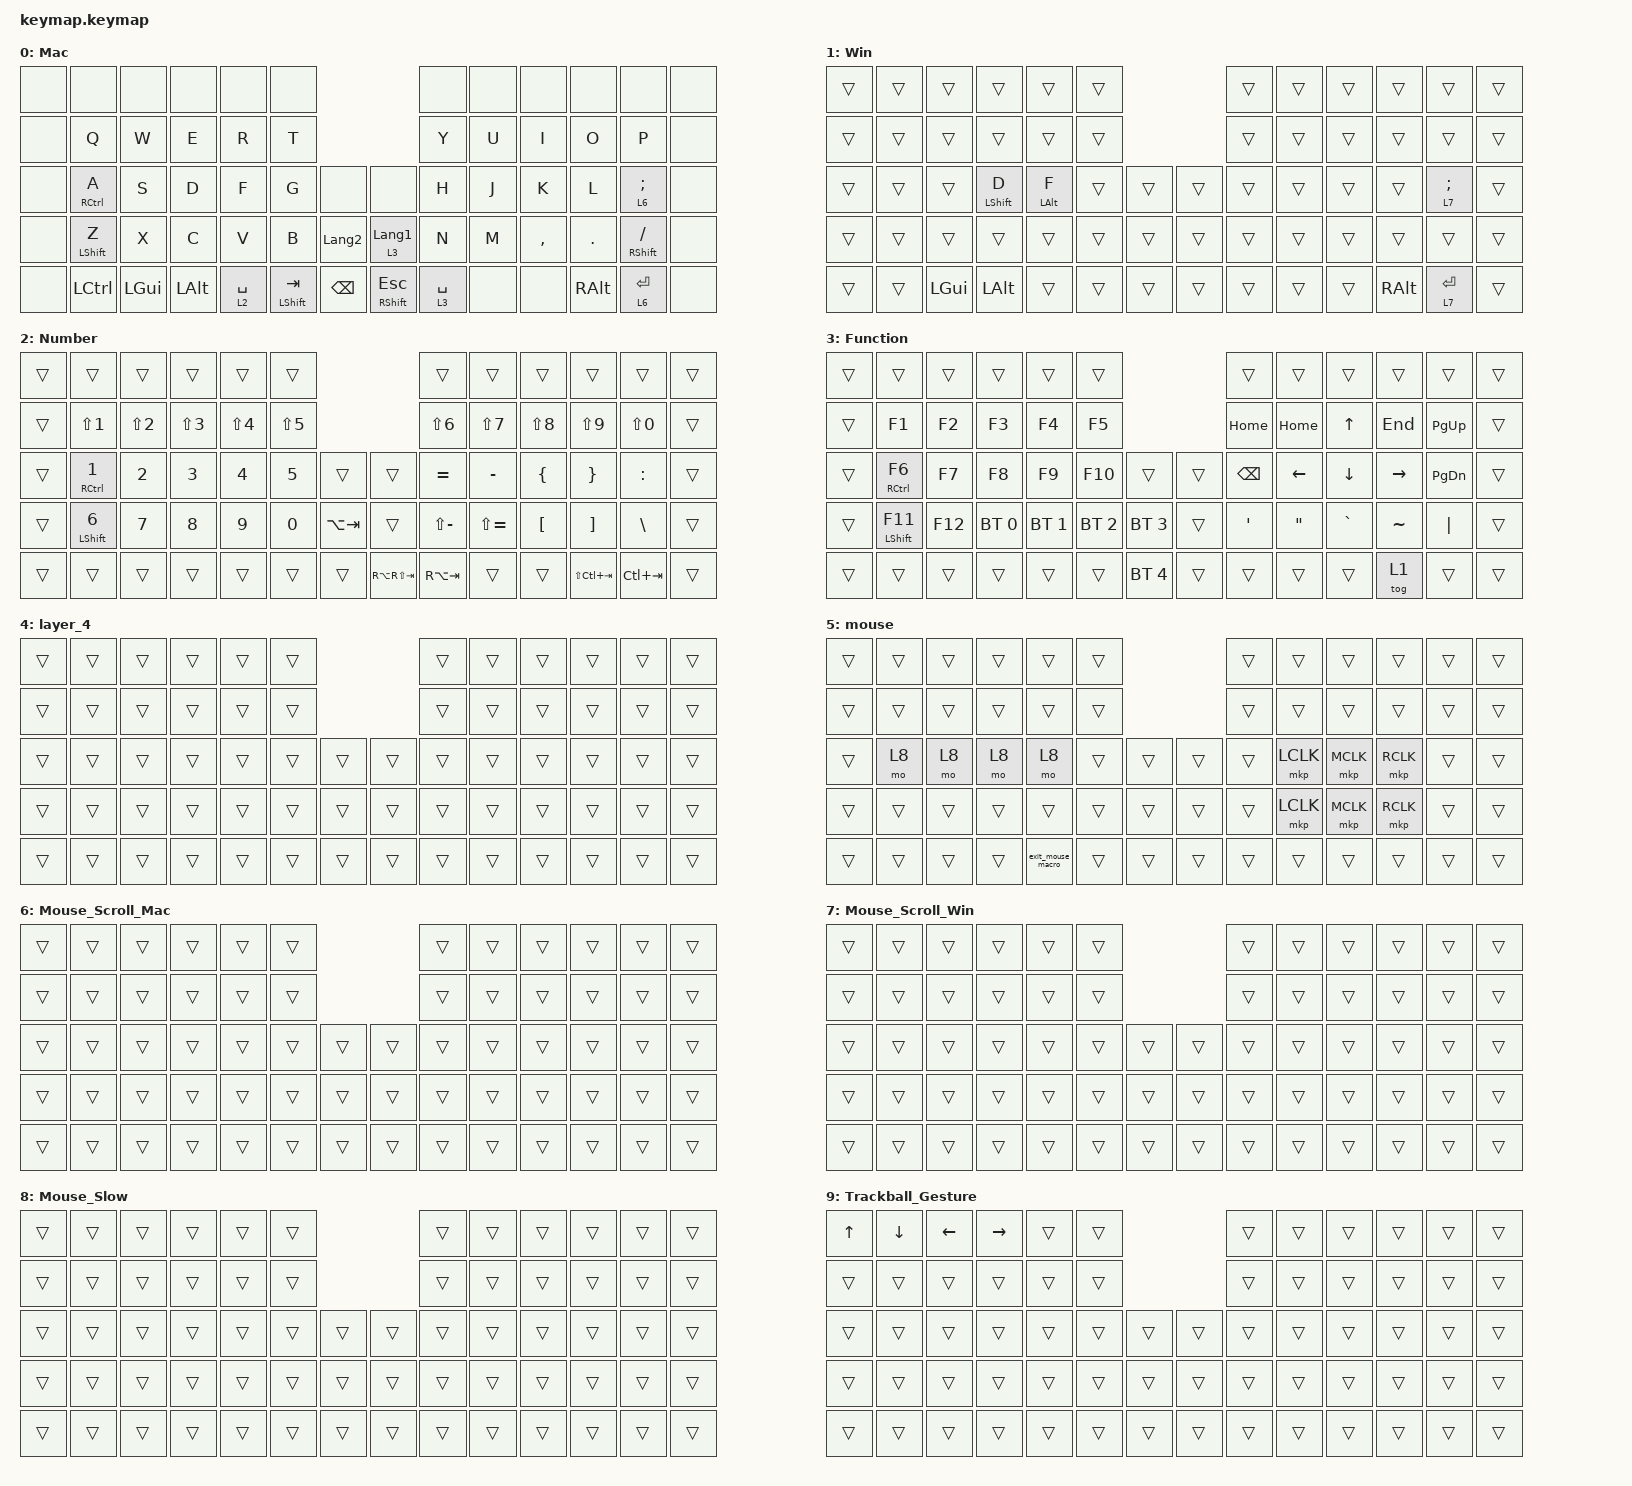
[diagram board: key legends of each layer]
#include <input/processors.dtsi>
#include <dt-bindings/zmk/input_transform.h>
#include <scroll-snap.dtsi>
#include <behaviors.dtsi>
#include <dt-bindings/zmk/bt.h>
#include <dt-bindings/zmk/keys.h>
#include <dt-bindings/zmk/pointing.h>

/ {
    combos {
        compatible = "zmk,combos";

        bt_clear {
            bindings = <&bt BT_CLR>;
            key-positions = <28 29>;
            layers = <2>;
        };
    };

    keymap {
        compatible = "zmk,keymap";

        Mac {
            bindings = <
&none  &none                     &none         &none         &none        &none                                          &none        &none  &none      &none    &none                       &none
&none  &kp Q                     &kp W         &kp E         &kp R        &kp T                                          &kp Y        &kp U  &kp I      &kp O    &kp P                       &none
&none  &mt_idle RIGHT_CONTROL A  &kp S         &kp D         &kp F        &kp G          &none           &none           &kp H        &kp J  &kp K      &kp L    &lt_idle 6 SEMICOLON        &none
&none  &mt_z LEFT_SHIFT Z        &kp X         &kp C         &kp V        &kp B          &kp LANGUAGE_2  &lt 3 LANGUAGE_1  &kp N        &kp M  &kp COMMA  &kp DOT  &mt_idle RIGHT_SHIFT SLASH  &none
&none  &kp LCTRL                 &kp LEFT_GUI  &kp LEFT_ALT  &lt 2 SPACE  &mt LEFT_SHIFT TAB  &kp BACKSPACE   &mt RSHIFT ESC  &lt 3 SPACE  &none  &none      &kp RIGHT_ALT  &lt 6 ENTER                 &none
            >;
        };

        Win {
            bindings = <
&trans  &trans  &trans        &trans            &trans          &trans                  &trans  &trans  &trans  &trans  &trans                &trans
&trans  &trans  &trans        &trans            &trans          &trans                  &trans  &trans  &trans  &trans  &trans                &trans
&trans  &trans  &trans        &mt LEFT_SHIFT D  &mt LEFT_ALT F  &trans  &trans  &trans  &trans  &trans  &trans  &trans  &lt_idle 7 SEMICOLON  &trans
&trans  &trans  &trans        &trans            &trans          &trans  &trans  &trans  &trans  &trans  &trans  &trans  &trans                &trans
&trans  &trans  &kp LEFT_GUI  &kp LEFT_ALT      &trans          &trans  &trans  &trans  &trans  &trans  &trans  &kp RIGHT_ALT   &lt 7 ENTER           &trans
            >;
        };

        Number {
            bindings = <
&trans  &trans                     &trans            &trans      &trans      &trans                                    &trans         &trans         &trans            &trans             &trans         &trans
&trans  &kp LS(NUMBER_1)           &kp LS(NUMBER_2)  &kp LS(N3)  &kp LS(N4)  &kp LS(N5)                                &kp LS(N6)     &kp LS(N7)     &kp LS(N8)        &kp LS(N9)         &kp LS(N0)     &trans
&trans  &mt_idle RIGHT_CONTROL N1  &kp N2            &kp N3      &kp N4      &kp N5      &trans       &trans           &kp EQUAL      &kp MINUS      &kp LEFT_BRACE    &kp RIGHT_BRACE    &kp COLON      &trans
&trans  &mt_idle LEFT_SHIFT N6     &kp N7            &kp N8      &kp N9      &kp N0      &kp LA(TAB)  &trans           &kp LS(MINUS)  &kp LS(EQUAL)  &kp LEFT_BRACKET  &kp RIGHT_BRACKET  &kp BACKSLASH  &trans
&trans  &trans                     &trans            &trans      &trans      &trans      &trans       &kp RA(RS(TAB))  &kp RA(TAB)    &trans         &trans            &kp LS(LC(TAB))    &kp LC(TAB)    &trans
            >;
        };

        Function {
            bindings = <
&trans  &trans                     &trans   &trans        &trans        &trans                               &trans            &trans    &trans        &trans     &trans         &trans
&trans  &kp F1                     &kp F2   &kp F3        &kp F4        &kp F5                               &kp HOME          &kp HOME  &kp UP_ARROW  &kp END    &kp PAGE_UP    &trans
&trans  &mt_idle RIGHT_CONTROL F6  &kp F7   &kp F8        &kp F9        &kp F10        &trans        &trans  &kp BACKSPACE     &kp LEFT  &kp DOWN      &kp RIGHT  &kp PAGE_DOWN  &trans
&trans  &mt_idle LEFT_SHIFT F11    &kp F12  &bt BT_SEL 0  &bt BT_SEL 1  &bt BT_SEL 2   &bt BT_SEL 3  &trans  &kp SINGLE_QUOTE  &kp DQT   &kp GRAVE     &kp TILDE  &kp PIPE       &trans
&trans  &trans                     &trans   &trans        &trans        &trans         &bt BT_SEL 4  &trans  &trans            &trans    &trans        &tog 1     &trans         &trans
            >;
        };

        layer_4 {
            bindings = <
&trans  &trans  &trans  &trans  &trans  &trans                  &trans  &trans  &trans  &trans  &trans  &trans
&trans  &trans  &trans  &trans  &trans  &trans                  &trans  &trans  &trans  &trans  &trans  &trans
&trans  &trans  &trans  &trans  &trans  &trans  &trans  &trans  &trans  &trans  &trans  &trans  &trans  &trans
&trans  &trans  &trans  &trans  &trans  &trans  &trans  &trans  &trans  &trans  &trans  &trans  &trans  &trans
&trans  &trans  &trans  &trans  &trans  &trans  &trans  &trans  &trans  &trans  &trans  &trans  &trans  &trans
            >;
        };

        mouse {
            bindings = <
&trans             &trans             &trans             &trans             &trans             &trans                                                   &trans             &trans     &trans     &trans     &trans  &trans
&trans             &trans             &trans             &trans             &trans             &trans                                                   &trans             &trans     &trans     &trans     &trans  &trans
&trans             &mo 8              &mo 8              &mo 8              &mo 8              &trans             &trans             &trans             &trans             &mkp LCLK  &mkp MCLK  &mkp RCLK  &trans  &trans
&trans             &trans             &trans             &trans             &trans             &trans             &trans             &trans             &trans             &mkp LCLK  &mkp MCLK  &mkp RCLK  &trans  &trans
&trans             &trans             &trans             &trans             &exit_mouse_macro  &trans             &trans             &trans             &trans     &trans     &trans     &trans  &trans  &trans
            >;
        };

        Mouse_Scroll_Mac {
            bindings = <
&trans  &trans  &trans  &trans  &trans  &trans                  &trans  &trans  &trans  &trans  &trans  &trans
&trans  &trans  &trans  &trans  &trans  &trans                  &trans  &trans  &trans  &trans  &trans  &trans
&trans  &trans  &trans  &trans  &trans  &trans  &trans  &trans  &trans  &trans  &trans  &trans  &trans  &trans
&trans  &trans  &trans  &trans  &trans  &trans  &trans  &trans  &trans  &trans  &trans  &trans  &trans  &trans
&trans  &trans  &trans  &trans  &trans  &trans  &trans  &trans  &trans  &trans  &trans  &trans  &trans  &trans
            >;
        };

        Mouse_Scroll_Win {
            bindings = <
&trans  &trans  &trans  &trans  &trans  &trans                  &trans  &trans  &trans  &trans  &trans  &trans
&trans  &trans  &trans  &trans  &trans  &trans                  &trans  &trans  &trans  &trans  &trans  &trans
&trans  &trans  &trans  &trans  &trans  &trans  &trans  &trans  &trans  &trans  &trans  &trans  &trans  &trans
&trans  &trans  &trans  &trans  &trans  &trans  &trans  &trans  &trans  &trans  &trans  &trans  &trans  &trans
&trans  &trans  &trans  &trans  &trans  &trans  &trans  &trans  &trans  &trans  &trans  &trans  &trans  &trans
            >;
        };

        Mouse_Slow {
            bindings = <
&trans  &trans  &trans  &trans  &trans  &trans                  &trans  &trans  &trans  &trans  &trans  &trans
&trans  &trans  &trans  &trans  &trans  &trans                  &trans  &trans  &trans  &trans  &trans  &trans
&trans  &trans  &trans  &trans  &trans  &trans  &trans  &trans  &trans  &trans  &trans  &trans  &trans  &trans
&trans  &trans  &trans  &trans  &trans  &trans  &trans  &trans  &trans  &trans  &trans  &trans  &trans  &trans
&trans  &trans  &trans  &trans  &trans  &trans  &trans  &trans  &trans  &trans  &trans  &trans  &trans  &trans
            >;
        };

        // Trackball gesture layer (Layer 9). Hold the trigger key (left thumb
        // `&lt 9 BACKSPACE`), then rotate the trackball. The FIRST four bindings
        // below (positions 0-3) are the UP / DOWN / LEFT / RIGHT swipe actions —
        // edit them freely. They reuse the otherwise-unused top-row positions so
        // raised events resolve reliably. All other bindings stay &trans so
        // normal keys keep working while the trigger is held.

        Trackball_Gesture {
            bindings = <
&kp UP  &kp DOWN  &kp LEFT  &kp RIGHT  &trans  &trans                  &trans  &trans  &trans  &trans  &trans  &trans
&trans  &trans    &trans    &trans     &trans  &trans                  &trans  &trans  &trans  &trans  &trans  &trans
&trans  &trans    &trans    &trans     &trans  &trans  &trans  &trans  &trans  &trans  &trans  &trans  &trans  &trans
&trans  &trans    &trans    &trans     &trans  &trans  &trans  &trans  &trans  &trans  &trans  &trans  &trans  &trans
&trans  &trans    &trans    &trans     &trans  &trans  &trans  &trans  &trans  &trans  &trans  &trans  &trans  &trans
            >;
        };
    };
};

/ {
    macros {
        exit_mouse_macro: exit_mouse_macro {
            compatible = "zmk,behavior-macro";
            #binding-cells = <0>;
            /* &kp 0 = HID usage 0 ("Reserved", no key). It presses/releases an
             * already-empty report slot, so the host sees nothing, but it still
             * raises a real zmk_keycode_state_changed event. zip_temp_layer's
             * require-prior-idle-ms (500ms, see zip_temp_layer node) only blocks
             * re-activation after a HID keycode event - &tog_off is a toggle-layer
             * behavior and does not count. Without this, a pointer sample that
             * arrives right after &tog_off (trackball settling / event-queue
             * race) re-activates layer 5 immediately, making this key look like
             * it did nothing when pressed right after moving the cursor. */
            bindings = <&macro_tap>, <&kp 0>, <&tog_off 5>;
        };
    };

    behaviors {
        tog_off: toggle_layer_off_only {
            compatible = "zmk,behavior-toggle-layer";
            #binding-cells = <1>;
            toggle-mode = "off";
        };

        mt_idle: mt_idle {
            compatible = "zmk,behavior-hold-tap";
            #binding-cells = <2>;
            flavor = "hold-preferred"; /* was balanced; balanced resolves Hold/Tap by comparing release
                                         * order with the interrupting key, which is unstable when both
                                         * are pressed almost simultaneously (e.g. Shift+Z). hold-preferred
                                         * commits to Hold as soon as another key is pressed while held. */
            tapping-term-ms = <250>;
            quick-tap-ms = <0>;
            require-prior-idle-ms = <150>; /* raised back from 80. Now that flavor=hold-preferred
                                             * commits to Hold on ANY interrupt, this gate matters
                                             * more for suppressing rollover misfires (e.g. "za"/"zu"/
                                             * "zo" in romaji input resolving as Shift+vowel) than for
                                             * letting intentional holds through. */
            bindings = <&kp>, <&kp>;
        };

        lt_idle: lt_idle {
            compatible = "zmk,behavior-hold-tap";
            #binding-cells = <2>;
            flavor = "tap-preferred";
            tapping-term-ms = <125>;
            quick-tap-ms = <0>;
            require-prior-idle-ms = <125>;
            bindings = <&mo>, <&kp>;
        };

        mt_z: mt_z {
            compatible = "zmk,behavior-hold-tap";
            #binding-cells = <2>;
            flavor = "tap-preferred"; /* mt_idleとは別flavor。tap-preferredは後続キー押下を判定に
                                        * 一切使わずtapping-term-ms満了時のみhold判定するため、
                                        * ローマ字ロールオーバー(z+a/z+u/z+o等)と原理的に衝突しない
                                        * 唯一のflavor。z専用に採用。 */
            tapping-term-ms = <90>; /* 60ms→80ms→90msと実機フィードバックを受けて引き上げ。
                                      * 短すぎるとWindowsでの&kp Ctrl+Z等、修飾キー併用時に
                                      * Zキーの押下実時間がtapping-term-msを超えhold=Shift誤判定
                                      * されやすい。長すぎると通常のZタイプの誤爆リスクが増える。 */
            quick-tap-ms = <0>;
            require-prior-idle-ms = <120>; /* mt_idleの150msを流用していたが体感で長く感じたため
                                             * 120msへ短縮。直前キーとの間隔が短ければ強制的に
                                             * tap扱いになる安全網（この値未満で必ずtap）。 */
            bindings = <&kp>, <&kp>;
        };
    };

    zip_temp_layer: zip_temp_layer {
        compatible = "zmk,input-processor-temp-layer";
        #input-processor-cells = <2>;
        require-prior-idle-ms = <500>;
        excluded-positions = <
            // L size layout indices (bottom-row right N M , . / + home-row J K L)
            46 47 48 49 50
            33 34 35
            56 // left thumb-right 3rd-from-right key (Number-space) = auto-mouse cancel key (exit_mouse_macro)
            // M size layout indices (bottom-row right + home-row J K L)
            32 33 34 35 36
            19 20 21
            42 // left thumb-right 3rd-from-right key cancel key
            // S size layout indices (bottom-row right + home-row J K L)
            27 28 29 30 31
            16 17 18
            35 // left thumb-right 3rd-from-right key cancel key
            // Local un-offset right half indices (just in case)
            39 40 41 42 43
        >;
    };
};

&mt {
    tapping-term-ms = <200>; /* 200ミリ秒以上長押しでHold判定 */
    flavor = "balanced"; /* balanc他のキーと被っても、200ms以内に離せばTap優位 */
};

&lt {
    tapping-term-ms = <200>; /* ZMK標準値(200ms)のまま。&mtとの対比のため明示しておく */
    flavor = "hold-preferred"; /* 標準はtap-preferred。mt_idleと同じ理由（balanced/tap-preferredは
                                 * 割り込みキーとの相対タイミングで判定が揺れやすい）でhold-preferredに統一。
                                 * 誤ホールド（レイヤーが意図せず有効になる）のリスクは上がるが、狙いは「意図した
                                 * ホールドが弾かれる」方の解消なので許容する。 */
};

&pointing_listener {
    /* Cursor direction. (X_INVERT | Y_INVERT) is the correct cursor direction.
     * The gesture override below uses the SAME flags so the swipe arrows match
     * the cursor. To change direction, edit these flags in all three places
     * (base, slow_mouse, gesture override) identically. */

    input-processors =
        <&zip_xy_transform (INPUT_TRANSFORM_X_INVERT | INPUT_TRANSFORM_Y_INVERT)>,
        <&zip_temp_layer 5 5000>,
        <&zip_xy_accel 65 120>;
        /* Was <&zip_xy_scaler 65 100>. zip_xy_accel replaces the flat scaler
         * in-place (same chain position, right after zip_temp_layer), so
         * zip_temp_layer keeps seeing exactly the same raw input timing it
         * always has - acceleration does not change auto-mouse trigger
         * timing. 65 = min-factor% (feel matches the old flat 65% at slow
         * speed), 120 = max-factor% reached only during fast flicks. Tune
         * further via the speed-threshold/speed-max/accel-exponent/min-dt-ms/
         * max-dt-ms properties on the zip_xy_accel node in
         * torabo_tsuki_lp.dtsi. */
    slow_mouse {
        layers = <8>;
        input-processors =
            <&zip_xy_transform (INPUT_TRANSFORM_X_INVERT | INPUT_TRANSFORM_Y_INVERT)>,
            <&zip_xy_scaler 40 100>;
    };

    scroll_mac {
        layers = <6>;
        input-processors =
            <&zip_xy_transform (INPUT_TRANSFORM_X_INVERT)>,
            <&zip_xy_scaler 2 100>,
            <&zip_xy_to_scroll_mapper>,
            <&zip_scroll_snap>;
    };

    scroll_win {
        layers = <7>;
        input-processors =
            <&zip_xy_transform (INPUT_TRANSFORM_X_INVERT)>,
            <&zip_xy_scaler 40 100>,
            <&zip_xy_to_scroll_mapper>,
            <&zip_scroll_snap>;
    };

    /* Gesture layer (9): runs only while layer 9 is active (= no layer query
     * needed in C). zip_xy_transform is applied first with the SAME flags as the
     * base cursor so the swipe directions match the cursor; then zip_gesture
     * detects swipes and returns STOP, which suppresses the cursor and skips the
     * base chain (so zip_temp_layer / auto-mouse does not trigger either). */

    gesture {
        layers = <9>;
        input-processors =
            <&zip_xy_transform (INPUT_TRANSFORM_X_INVERT | INPUT_TRANSFORM_Y_INVERT)>,
            <&zip_gesture>;
    };
};
